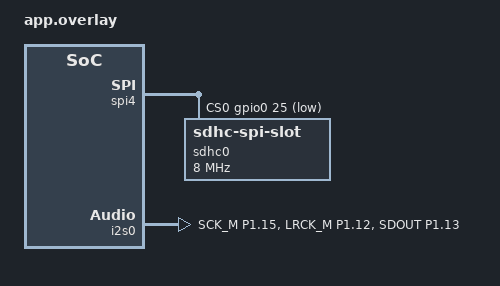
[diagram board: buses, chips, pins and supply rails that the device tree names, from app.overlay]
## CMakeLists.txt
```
cmake_minimum_required(VERSION 3.20.0)
find_package(Zephyr REQUIRED HINTS $ENV{ZEPHYR_BASE})

project(sd_I2S)

target_sources(app PRIVATE src/main.c)
```

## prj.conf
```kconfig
CONFIG_DISK_ACCESS=y
CONFIG_LOG=y
CONFIG_FILE_SYSTEM=y
CONFIG_FAT_FILESYSTEM_ELM=y
CONFIG_PRINTK=y
CONFIG_MAIN_STACK_SIZE=16384
CONFIG_DISK_DRIVER_SDMMC=y
CONFIG_SPI=y
CONFIG_SDMMC_STACK=y
CONFIG_HEAP_MEM_POOL_SIZE=16384


CONFIG_LOG=y
CONFIG_USE_SEGGER_RTT=y
CONFIG_LOG_BACKEND_RTT=y
CONFIG_LOG_BUFFER_SIZE=4096
CONFIG_STDOUT_CONSOLE=y


CONFIG_NEWLIB_LIBC=y
CONFIG_NEWLIB_LIBC_FLOAT_PRINTF=y

CONFIG_I2S=y
```

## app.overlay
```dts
&spi4 {
	status = "okay";
	cs-gpios = <&gpio0 25 GPIO_ACTIVE_LOW>;
	pinctrl-0 = <&spi4_default>;
	sdhc0: sdhc@0 {
			compatible = "zephyr,sdhc-spi-slot";
			reg = <0>;
			status = "okay";
			mmc {
				compatible = "zephyr,sdmmc-disk";
				status = "okay";
			};
			spi-max-frequency = <8000000>;
	};
};

&spi4_default {
	group1 {
		psels = <NRF_PSEL(SPIM_SCK, 0, 24)>,
				<NRF_PSEL(SPIM_MISO, 0, 23)>,
				<NRF_PSEL(SPIM_MOSI, 0, 22)>;
	};
};

&adc {
	status = "disabled";
};

&pwm0 {
	status = "disabled";
};

&qspi {
	status = "disabled";
};

&uart0 {
	status = "disabled";
};

&i2c1 {
	status = "disabled";
};

// &button0 {
// 	/delete-property/ gpios;
// };

// &button1 {
// 	/delete-property/ gpios;
// };


/ {
    aliases {
        test = &i2s0;
    };
};

// / {
//     data_partition: partition@0 {
//         label = "data_part";
//         reg = <0x00040000 0x0000EA00>; // adjust to your flash address/size
//     };
// };

&clock {
	hfclkaudio-frequency = <11289600>;
};

&i2s0 {
    status = "okay";
    pinctrl-0 = <&i2s0_default>;
    pinctrl-names = "default";
	clock-source = "ACLK";
};

&pinctrl {
    compatible = "nordic,nrf-pinctrl";   /* ensure the nRF pinctrl driver binds */
    i2s0_default: i2s0_default {
        group {
            /* whitespace‑separated entries, no commas */
            psels = <NRF_PSEL(I2S_SCK_M, 1, 15)>,
                    <NRF_PSEL(I2S_LRCK_M,  1, 12)>,
                    <NRF_PSEL(I2S_SDOUT,   1, 13)>;
        };
    };
};
```

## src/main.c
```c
#include <stdio.h>
#include <string.h>
#include <inttypes.h> 

#include <zephyr/kernel.h>
#include <zephyr/drivers/i2s.h>
#include <zephyr/storage/disk_access.h>
#include <zephyr/logging/log.h>
#include <zephyr/fs/fs.h>
#include <zephyr/sys/byteorder.h> 

#if defined(CONFIG_FAT_FILESYSTEM_ELM)
#include <ff.h>
#define DISK_DRIVE_NAME  "SD"
#define DISK_MOUNT_PT    "/" DISK_DRIVE_NAME ":"
#define MOUNT_POINT      DISK_MOUNT_PT 
static FATFS fat_fs;
static struct fs_mount_t mp = {
    .type     = FS_FATFS,
    .fs_data  = &fat_fs,
    .mnt_point= NULL, 
};
#else
#error "Enable CONFIG_FAT_FILESYSTEM_ELM for SD card support"
#endif

LOG_MODULE_REGISTER(wav_player_app, CONFIG_LOG_DEFAULT_LEVEL);

#define I2S_SAMPLES_PER_BLOCK   64 


#define MAX_I2S_CHANNELS        2
#define MAX_I2S_SAMPLE_BYTES    2 // 2Bytes per sample value
#define I2S_MAX_BLOCK_SIZE_BYTES (I2S_SAMPLES_PER_BLOCK * MAX_I2S_CHANNELS * MAX_I2S_SAMPLE_BYTES) //  256 bytes

#define NUM_I2S_BLOCKS 20 

#ifdef CONFIG_NOCACHE_MEMORY
    #define MEM_SLAB_CACHE_ATTR __nocache
#else
    #define MEM_SLAB_CACHE_ATTR
#endif 

static char MEM_SLAB_CACHE_ATTR __aligned(WB_UP(32))
    _k_mem_slab_buf_tx_0_mem_slab[(NUM_I2S_BLOCKS) * WB_UP(I2S_MAX_BLOCK_SIZE_BYTES)];

static STRUCT_SECTION_ITERABLE(k_mem_slab, tx_0_mem_slab) =
    Z_MEM_SLAB_INITIALIZER(tx_0_mem_slab, _k_mem_slab_buf_tx_0_mem_slab,
                           WB_UP(I2S_MAX_BLOCK_SIZE_BYTES), NUM_I2S_BLOCKS);

#define WAV_FILENAME "test.wav" 

typedef struct __attribute__((packed)) {    /* Make sure the WAV file is in the same format as the struct, 
for converting file to WAV follow this website https://www.freeconvert.com/mp3-to-wav. */
    char     RIFF[4];         
    uint32_t chunkSize;      
    char     WAVE[4];        
    char     fmt_[4];        
    uint32_t fmtChunkSize;   
    uint16_t audioFormat;    
    uint16_t numChannels;    
    uint32_t sampleRate;     
    uint32_t byteRate;       
    uint16_t blockAlign;     
    uint16_t bitsPerSample;  
} WavHeaderBase;

typedef struct __attribute__((packed)) {
    char     chunkID[4];
    uint32_t chunkSize; 
} WavChunkHeader;


static int mount_sd(const char *mount_pt_arg) 
{
    int rc;
    static bool inited;

    if (!inited) {
        rc = disk_access_init(DISK_DRIVE_NAME);
        if (rc) {
            LOG_ERR("disk_access_init(%s) failed: %d", DISK_DRIVE_NAME, rc);
            return rc;
        }
        inited = true;
    }

    mp.mnt_point = mount_pt_arg; 
    rc = fs_mount(&mp);
    if (rc != FR_OK) {
        LOG_ERR("fs_mount(%s) error: %d (FR_OK is %d)", mount_pt_arg, rc, FR_OK);
        if (rc == FR_NO_FILESYSTEM) {
            LOG_ERR("No FAT filesystem found on SD card.");
        }
        return -EIO;
    }
    LOG_INF("Mounted %s at %s", DISK_DRIVE_NAME, mount_pt_arg);
    return 0;
}


int main(void)
{
    int rc;
    struct fs_file_t wav_file;
    WavHeaderBase wav_header_base;
    WavChunkHeader data_chunk_header;

    struct i2s_config i2s_cfg;
    const struct device *dev_i2s = DEVICE_DT_GET(DT_ALIAS(test));

    uint32_t wav_sample_rate;
    uint16_t wav_bits_per_sample;
    uint16_t wav_num_channels;
    uint32_t wav_data_chunk_size;
    size_t i2s_actual_block_size_bytes;

    LOG_INF("Initalizing");

    if (!device_is_ready(dev_i2s)) {
        LOG_ERR("I2S device %s not ready", dev_i2s->name);
        return -ENODEV;
    }

    rc = mount_sd(MOUNT_POINT); 
    if (rc != 0) {
        LOG_ERR("Failed to mount SD card: %d", rc);
        return rc;
    }

    char filepath[128];
    snprintf(filepath, sizeof(filepath), "%s/%s", MOUNT_POINT, WAV_FILENAME); 
    filepath[sizeof(filepath)-1] = '\0';

    fs_file_t_init(&wav_file);
    rc = fs_open(&wav_file, filepath, FS_O_READ);
    if (rc < 0) {
        LOG_ERR("Failed to open %s: %d", filepath, rc);
        fs_unmount(&mp);
        return rc;
    }
    LOG_INF("WAV file: %s", filepath);

    ssize_t bytes_read = fs_read(&wav_file, &wav_header_base, sizeof(WavHeaderBase));
    if (bytes_read < sizeof(WavHeaderBase)) {
        LOG_ERR("Failed to read WAV header base: read %zd bytes, expected %zu. Error: %d",
                bytes_read, sizeof(WavHeaderBase), (bytes_read < 0) ? errno: 0);
        fs_close(&wav_file);
        fs_unmount(&mp);
        return (bytes_read < 0) ? bytes_read : -EIO;
    }

    wav_header_base.chunkSize = sys_le32_to_cpu(wav_header_base.chunkSize);     // converting to host endian for portability
    wav_header_base.fmtChunkSize = sys_le32_to_cpu(wav_header_base.fmtChunkSize);
    wav_header_base.audioFormat = sys_le16_to_cpu(wav_header_base.audioFormat);
    wav_header_base.numChannels = sys_le16_to_cpu(wav_header_base.numChannels);
    wav_header_base.sampleRate = sys_le32_to_cpu(wav_header_base.sampleRate);
    wav_header_base.byteRate = sys_le32_to_cpu(wav_header_base.byteRate);
    wav_header_base.blockAlign = sys_le16_to_cpu(wav_header_base.blockAlign);
    wav_header_base.bitsPerSample = sys_le16_to_cpu(wav_header_base.bitsPerSample);

    if (strncmp(wav_header_base.RIFF, "RIFF", 4) != 0 ||
        strncmp(wav_header_base.WAVE, "WAVE", 4) != 0 ||
        strncmp(wav_header_base.fmt_, "fmt ", 4) != 0) {
        LOG_ERR("Invalid WAV file format (RIFF/WAVE/fmt markers missing)");
        fs_close(&wav_file);
        fs_unmount(&mp);
        return -EINVAL;
    }
    if (wav_header_base.audioFormat != 1) {
        LOG_ERR("Unsupported WAV audio format: %u (expected 1 for PCM)", wav_header_base.audioFormat);
        fs_close(&wav_file);
        fs_unmount(&mp);
        return -ENOTSUP;
    }
    if (wav_header_base.bitsPerSample != 16 && wav_header_base.bitsPerSample != 8) {
        LOG_ERR("Unsupported bits per sample: %u (expected 8 or 16)", wav_header_base.bitsPerSample);
        fs_close(&wav_file);
        fs_unmount(&mp);
        return -ENOTSUP;
    }
     if (wav_header_base.numChannels == 0 || wav_header_base.numChannels > MAX_I2S_CHANNELS) {
        LOG_ERR("Unsupported number of channels: %u (max %d)", wav_header_base.numChannels, MAX_I2S_CHANNELS);
        fs_close(&wav_file);
        fs_unmount(&mp);
        return -ENOTSUP;
    }

    wav_sample_rate = wav_header_base.sampleRate;
    wav_bits_per_sample = wav_header_base.bitsPerSample;
    wav_num_channels = wav_header_base.numChannels;

    LOG_INF("WAV Info: %"PRIu32" Hz, %"PRIu16"-bit, %"PRIu16" channels",
            wav_sample_rate, wav_bits_per_sample, wav_num_channels);

    if (wav_header_base.fmtChunkSize > 16) { 
        rc = fs_seek(&wav_file, wav_header_base.fmtChunkSize - 16, FS_SEEK_CUR);
        if (rc < 0) {
            LOG_ERR("Failed to seek past extra fmt data: %d", rc);
            fs_close(&wav_file);
            fs_unmount(&mp);
            return rc;
        }
    }

    bool data_chunk_found = false;
    while (true) {
        bytes_read = fs_read(&wav_file, &data_chunk_header, sizeof(WavChunkHeader));
        if (bytes_read < sizeof(WavChunkHeader)) {
            LOG_ERR("Failed to read data chunk header: %zd", bytes_read);
            fs_close(&wav_file);
            fs_unmount(&mp);
            return (bytes_read < 0) ? bytes_read : -EIO;
        }
        data_chunk_header.chunkSize = sys_le32_to_cpu(data_chunk_header.chunkSize);

        if (strncmp(data_chunk_header.chunkID, "data", 4) == 0) {
            wav_data_chunk_size = data_chunk_header.chunkSize;
            data_chunk_found = true;
            LOG_INF("Found 'data' chunk, size: %"PRIu32" bytes", wav_data_chunk_size);
            break;
        } else {
            LOG_INF("Skipping chunk '%.4s', size %"PRIu32, data_chunk_header.chunkID, data_chunk_header.chunkSize);
            rc = fs_seek(&wav_file, data_chunk_header.chunkSize, FS_SEEK_CUR);
            if (rc < 0) {
                LOG_ERR("Failed to seek past chunk '%.4s': %d", data_chunk_header.chunkID, rc);
                fs_close(&wav_file);
                fs_unmount(&mp);
                return rc;
            }
        }
        if (fs_tell(&wav_file) >= (wav_header_base.chunkSize + 8)) {
            LOG_ERR("Reached end of file or malformed WAV while searching for 'data' chunk.");
            break;
        }
    }

    if (!data_chunk_found) {
        LOG_ERR("'data' chunk not found in WAV file.");
        fs_close(&wav_file);
        fs_unmount(&mp);
        return -EINVAL;
    }
    if (wav_data_chunk_size == 0) {
        LOG_ERR("WAV 'data' chunk is empty.");
        fs_close(&wav_file);
        fs_unmount(&mp);
        return -EINVAL;
    }

    i2s_cfg.word_size = wav_bits_per_sample;
    i2s_cfg.channels = wav_num_channels;
    i2s_cfg.format = I2S_FMT_DATA_FORMAT_I2S;
    i2s_cfg.frame_clk_freq = wav_sample_rate;

    i2s_actual_block_size_bytes = I2S_SAMPLES_PER_BLOCK * wav_num_channels * (wav_bits_per_sample / 8);
    if (i2s_actual_block_size_bytes > I2S_MAX_BLOCK_SIZE_BYTES) {
        LOG_ERR("Calculated I2S block size (%"PRIuMAX") exceeds max slab block size (%"PRIuMAX")",
                (uintmax_t)i2s_actual_block_size_bytes, (uintmax_t)I2S_MAX_BLOCK_SIZE_BYTES);
        fs_close(&wav_file);
        fs_unmount(&mp);
        return -EINVAL;
    }
    i2s_cfg.block_size = i2s_actual_block_size_bytes;

    i2s_cfg.timeout = 2000;
    i2s_cfg.options = I2S_OPT_FRAME_CLK_MASTER | I2S_OPT_BIT_CLK_MASTER;
    i2s_cfg.mem_slab = &tx_0_mem_slab;

    rc = i2s_configure(dev_i2s, I2S_DIR_TX, &i2s_cfg);
    if (rc < 0) {
        LOG_ERR("Failed to configure I2S stream: %d", rc);
        fs_close(&wav_file);
        fs_unmount(&mp);
        return rc;
    }
    LOG_INF("I2S configured: %"PRIu32" Hz, %u-bit, %u channels, block_size %zu bytes",
            i2s_cfg.frame_clk_freq, i2s_cfg.word_size, i2s_cfg.channels, i2s_cfg.block_size);

    void *tx_mem_block;
    uint32_t total_bytes_played = 0;
    bool i2s_started = false;

    LOG_INF("Playback");

    while (total_bytes_played < wav_data_chunk_size) {
        rc = k_mem_slab_alloc(&tx_0_mem_slab, &tx_mem_block, K_SECONDS(1));
        if (rc < 0) {
            LOG_ERR("Failed to allocate I2S TX memory block: %d. Playback may be starved.", rc);
            break;
        }

        size_t bytes_to_read_this_chunk = MIN(i2s_cfg.block_size, wav_data_chunk_size - total_bytes_played);
        bytes_read = fs_read(&wav_file, tx_mem_block, bytes_to_read_this_chunk);

        if (bytes_read < 0) {
            LOG_ERR("Failed to read WAV data: %d (errno %d)", (int)bytes_read, errno);
            k_mem_slab_free(&tx_0_mem_slab, tx_mem_block);
            break;
        }
        if (bytes_read == 0 && bytes_to_read_this_chunk > 0) { 
            LOG_INF("End of WAV data chunk reached unexpectedly or file truncated.");
            k_mem_slab_free(&tx_0_mem_slab, tx_mem_block);
            break;
        }
        if (bytes_read == 0 && bytes_to_read_this_chunk == 0) { 
             k_mem_slab_free(&tx_0_mem_slab, tx_mem_block); 
             break;
        }


        if (bytes_read < i2s_cfg.block_size) {
            memset((uint8_t *)tx_mem_block + bytes_read, 0, i2s_cfg.block_size - bytes_read);
        }

        rc = i2s_write(dev_i2s, tx_mem_block, i2s_cfg.block_size);
        if (rc < 0) {
            LOG_ERR("I2S write error: %d. Freeing block.", rc);
            k_mem_slab_free(&tx_0_mem_slab, tx_mem_block);
            break;
        }

        if (!i2s_started) {
            rc = i2s_trigger(dev_i2s, I2S_DIR_TX, I2S_TRIGGER_START);
            if (rc < 0) {
                LOG_ERR("Failed to trigger I2S START: %d", rc);
                break;
            }
            i2s_started = true;
            LOG_INF("I2S transmission started.");
        }
        total_bytes_played += bytes_read;
    }

    if (i2s_started) {
        LOG_INF("Draining I2S TX queue");
        rc = i2s_trigger(dev_i2s, I2S_DIR_TX, I2S_TRIGGER_DRAIN);
        if (rc < 0) {
            LOG_ERR("Failed to DRAIN I2S TX: %d", rc);
        } else {
            LOG_INF("I2S DRAIN complete.");
        }
    } else if (total_bytes_played > 0) { 
        LOG_WRN("I2S START trigger failed");
         rc = i2s_trigger(dev_i2s, I2S_DIR_TX, I2S_TRIGGER_DRAIN); 
        if (rc < 0) LOG_ERR("Post-failure DRAIN I2S TX also failed: %d", rc);
    }
     else {
         LOG_INF("I2S was not started or no data written");
    }

    fs_close(&wav_file);
    LOG_INF("Closed WAV file.");

    while (1) {
        k_sleep(K_SECONDS(5));
    }
    return 0;
}
```
